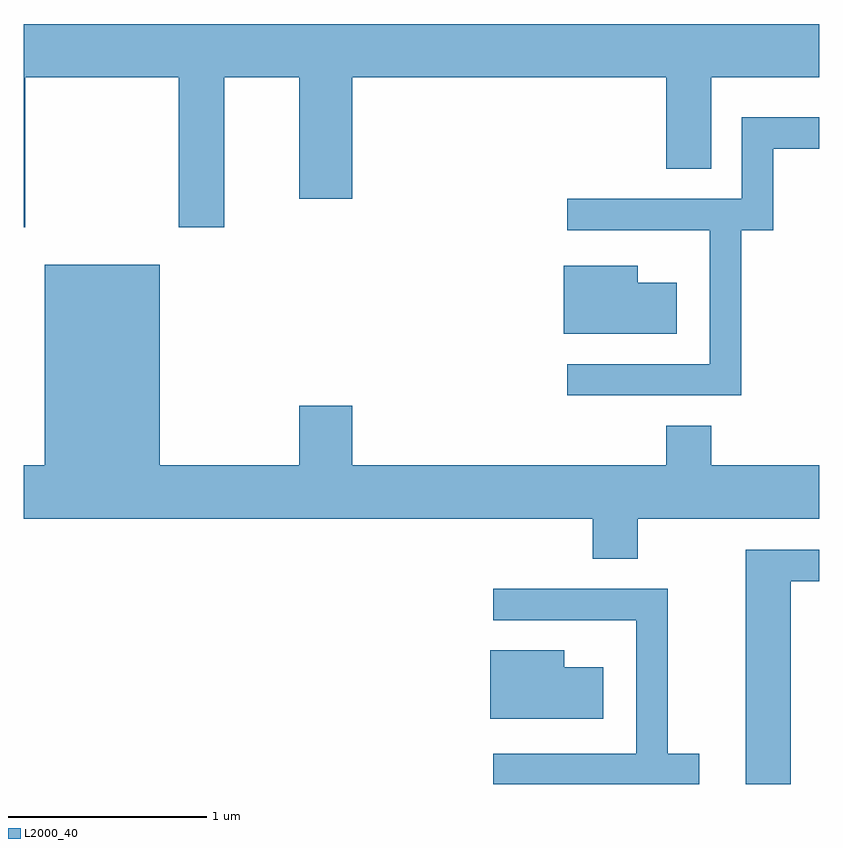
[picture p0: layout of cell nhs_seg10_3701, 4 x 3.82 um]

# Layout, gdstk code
import gdstk
lib = gdstk.Library(unit=1e-6, precision=1e-09)
def P(c, l, *ps):  # polygons
    for p in ps: c.add(gdstk.Polygon(p, *l))
L2000_40 = (2000, 40)

nhs_seg10_3701 = lib.new_cell('nhs_seg10_3701')
P(nhs_seg10_3701, L2000_40, [(293.611,2175.321),(293.619,2175.321),(293.619,2176.076),(294.391,2176.076),(294.391,2175.321),(294.619,2175.321),(294.619,2176.076),(294.996,2176.076),(294.996,2175.466),(295.264,2175.466),(295.264,2176.076),(296.841,2176.076),(296.841,2175.616),(297.069,2175.616),(297.069,2176.076),(297.611,2176.076),(297.611,2176.344),(293.611,2176.344)],
  [(297.219,2175.306),(297.379,2175.306),(297.379,2175.716),(297.611,2175.716),(297.611,2175.874),(297.221,2175.874),(297.221,2175.464),(296.343,2175.464),(296.343,2175.306),(297.061,2175.306),(297.061,2174.634),(296.343,2174.634),(296.343,2174.476),(297.219,2174.476)],
  [(296.699,2173.856),(297.611,2173.856),(297.611,2174.124),(297.069,2174.124),(297.069,2174.324),(296.841,2174.324),(296.841,2174.124),(295.264,2174.124),(295.264,2174.424),(294.996,2174.424),(294.996,2174.124),(294.294,2174.124),(294.294,2175.134),(293.716,2175.134),(293.716,2174.124),(293.611,2174.124),(293.611,2173.856),(296.471,2173.856),(296.471,2173.656),(296.699,2173.656)],
  [(296.894,2175.044),(296.699,2175.044),(296.699,2175.129),(296.326,2175.129),(296.326,2174.786),(296.894,2174.786)],
  [(297.469,2173.541),(297.611,2173.541),(297.611,2173.699),(297.241,2173.699),(297.241,2172.522),(297.469,2172.522)],
  [(297.009,2172.674),(296.849,2172.674),(296.849,2173.504),(295.973,2173.504),(295.973,2173.346),(296.691,2173.346),(296.691,2172.674),(295.973,2172.674),(295.973,2172.522),(297.009,2172.522)],
  [(296.524,2173.109),(296.329,2173.109),(296.329,2173.194),(295.956,2173.194),(295.956,2172.851),(296.524,2172.851)])

lib.write_gds('nhs_seg10_3701.gds')
